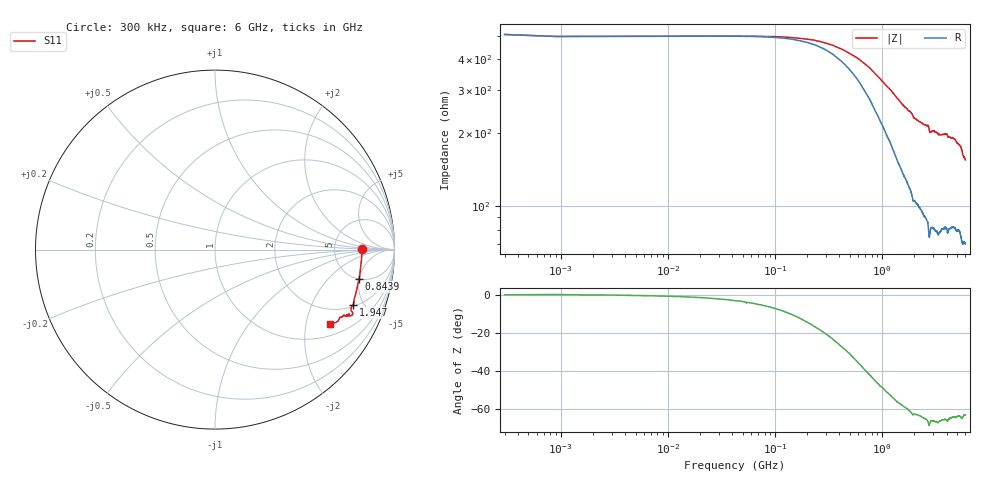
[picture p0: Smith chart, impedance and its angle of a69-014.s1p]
!  3/12/2021  07:58:00
! Ref Plane: 23.990 mm
# MHZ S MA R  50
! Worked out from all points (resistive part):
!   10001 points, 300 kHz to 6 GHz, reference 50 ohm
!   read as one part to ground: R = 499 ohm at 30.3 MHz
!   S11 on the Smith chart (normalised r, x): 300 kHz: 10, +0; 843.9 MHz: 5.03, -4.97; 1.947 GHz: 2.11, -4.18; 6 GHz: 1.40, -2.76
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0.3  0.8204 0.1
387.8806  0.8172 -5.6
750.2625  0.8189 -10.3
843.8578  0.8187 -11.5
1101.245  0.8193 -14.4
1500.225  0.8214 -18.2
1846.408  0.8276 -20.6
1947.203  0.8304 -21.8
2008.4  0.8244 -22.1
2250.188  0.8253 -23.1
2551.972  0.83 -24.1
2663.567  0.8354 -24.3
2727.764  0.8475 -25.0
2775.161  0.8407 -26.0
2836.358  0.8278 -25.9
3000.15  0.829 -25.7
3356.532  0.8294 -26.6
3750.113  0.82 -26.4
3888.706  0.8187 -26.2
4057.897  0.8238 -26.4
4177.291  0.8145 -27.0
4500.075  0.8076 -27.0
4870.257  0.8038 -27.6
5250.038  0.7922 -28.6
5542.223  0.7923 -30.2
5661.017  0.783 -31.4
5766.012  0.7727 -31.8
6000  0.7628 -32.8
